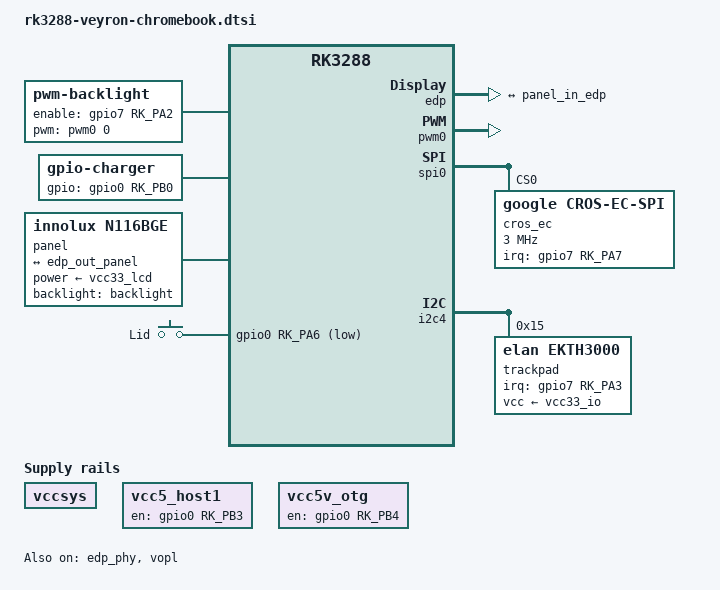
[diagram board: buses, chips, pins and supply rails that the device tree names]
// SPDX-License-Identifier: (GPL-2.0+ OR MIT)
/*
 * Google Veyron (and derivatives) board device tree source
 * Chromebook specific parts
 *
 * Copyright 2015 Google, Inc
 */

#include <dt-bindings/clock/rockchip,rk808.h>
#include <dt-bindings/input/input.h>
#include "rk3288-veyron.dtsi"
#include "rk3288-veyron-analog-audio.dtsi"
#include "rk3288-veyron-sdmmc.dtsi"

/ {
	aliases {
		/* Assign 20 so we don't get confused w/ builtin ones */
		i2c20 = &i2c_tunnel;
	};

	backlight: backlight {
		compatible = "pwm-backlight";
		brightness-levels = <
			  0   1   2   3   4   5   6   7
			  8   9  10  11  12  13  14  15
			 16  17  18  19  20  21  22  23
			 24  25  26  27  28  29  30  31
			 32  33  34  35  36  37  38  39
			 40  41  42  43  44  45  46  47
			 48  49  50  51  52  53  54  55
			 56  57  58  59  60  61  62  63
			 64  65  66  67  68  69  70  71
			 72  73  74  75  76  77  78  79
			 80  81  82  83  84  85  86  87
			 88  89  90  91  92  93  94  95
			 96  97  98  99 100 101 102 103
			104 105 106 107 108 109 110 111
			112 113 114 115 116 117 118 119
			120 121 122 123 124 125 126 127
			128 129 130 131 132 133 134 135
			136 137 138 139 140 141 142 143
			144 145 146 147 148 149 150 151
			152 153 154 155 156 157 158 159
			160 161 162 163 164 165 166 167
			168 169 170 171 172 173 174 175
			176 177 178 179 180 181 182 183
			184 185 186 187 188 189 190 191
			192 193 194 195 196 197 198 199
			200 201 202 203 204 205 206 207
			208 209 210 211 212 213 214 215
			216 217 218 219 220 221 222 223
			224 225 226 227 228 229 230 231
			232 233 234 235 236 237 238 239
			240 241 242 243 244 245 246 247
			248 249 250 251 252 253 254 255>;
		default-brightness-level = <128>;
		enable-gpios = <&gpio7 RK_PA2 GPIO_ACTIVE_HIGH>;
		pinctrl-names = "default";
		pinctrl-0 = <&bl_en>;
		pwms = <&pwm0 0 1000000 0>;
		post-pwm-on-delay-ms = <10>;
		pwm-off-delay-ms = <10>;
	};

	gpio-charger {
		compatible = "gpio-charger";
		charger-type = "mains";
		gpios = <&gpio0 RK_PB0 GPIO_ACTIVE_HIGH>;
		pinctrl-names = "default";
		pinctrl-0 = <&ac_present_ap>;
	};

	panel: panel {
		compatible ="innolux,n116bge", "simple-panel";
		status = "okay";
		power-supply = <&vcc33_lcd>;
		backlight = <&backlight>;

		ports {
			panel_in: port {
				panel_in_edp: endpoint {
					remote-endpoint = <&edp_out_panel>;
				};
			};
		};
	};

	/* A non-regulated voltage from power supply or battery */
	vccsys: vccsys {
		compatible = "regulator-fixed";
		regulator-name = "vccsys";
		regulator-boot-on;
		regulator-always-on;
	};

	vcc33_sys: vcc33-sys {
		vin-supply = <&vccsys>;
	};

	vcc_5v: vcc-5v {
		vin-supply = <&vccsys>;
	};

	/* This turns on vbus for host1 (dwc2) */
	vcc5_host1: vcc5-host1-regulator {
		compatible = "regulator-fixed";
		enable-active-high;
		gpio = <&gpio0 RK_PB3 GPIO_ACTIVE_HIGH>;
		pinctrl-names = "default";
		pinctrl-0 = <&host1_pwr_en>;
		regulator-name = "vcc5_host1";
		regulator-always-on;
		regulator-boot-on;
	};

	/* This turns on vbus for otg for host mode (dwc2) */
	vcc5v_otg: vcc5v-otg-regulator {
		compatible = "regulator-fixed";
		enable-active-high;
		gpio = <&gpio0 RK_PB4 GPIO_ACTIVE_HIGH>;
		pinctrl-names = "default";
		pinctrl-0 = <&usbotg_pwren_h>;
		regulator-name = "vcc5_host2";
		regulator-always-on;
		regulator-boot-on;
	};
};

&edp {
	status = "okay";

	pinctrl-names = "default";
	pinctrl-0 = <&edp_hpd>;

	ports {
		edp_out: port@1 {
			reg = <1>;
			#address-cells = <1>;
			#size-cells = <0>;
			edp_out_panel: endpoint@0 {
				reg = <0>;
				remote-endpoint = <&panel_in_edp>;
			};
		};
	};
};

&edp_phy {
	status = "okay";
};

&gpio_keys {
	pinctrl-0 = <&pwr_key_l &ap_lid_int_l>;
	lid {
		label = "Lid";
		gpios = <&gpio0 RK_PA6 GPIO_ACTIVE_LOW>;
		wakeup-source;
		linux,code = <0>; /* SW_LID */
		linux,input-type = <5>; /* EV_SW */
		debounce-interval = <1>;
	};
};

&pwm0 {
	status = "okay";
};

&rk808 {
	vcc11-supply = <&vcc_5v>;

	regulators {
		vcc33_ccd: LDO_REG8 {
			regulator-name = "vcc33_ccd";
			regulator-always-on;
			regulator-boot-on;
			regulator-min-microvolt = <3300000>;
			regulator-max-microvolt = <3300000>;
			regulator-state-mem {
				regulator-on-in-suspend;
				regulator-suspend-microvolt = <3300000>;
			};
		};
	};
};

&spi0 {
	status = "okay";

	cros_ec: ec@0 {
		compatible = "google,cros-ec-spi";
		reg = <0>;
		google,cros-ec-spi-pre-delay = <30>;
		interrupt-parent = <&gpio7>;
		interrupts = <RK_PA7 IRQ_TYPE_LEVEL_LOW>;
		pinctrl-names = "default";
		pinctrl-0 = <&ec_int>;
		spi-max-frequency = <3000000>;

		i2c_tunnel: i2c-tunnel {
			compatible = "google,cros-ec-i2c-tunnel";
			google,remote-bus = <0>;
			#address-cells = <1>;
			#size-cells = <0>;
		};
	};
};

&i2c4 {
	trackpad@15 {
		compatible = "elan,ekth3000";
		reg = <0x15>;
		interrupt-parent = <&gpio7>;
		interrupts = <RK_PA3 IRQ_TYPE_EDGE_FALLING>;
		pinctrl-names = "default";
		pinctrl-0 = <&trackpad_int>;
		vcc-supply = <&vcc33_io>;
		wakeup-source;
	};
};

&vopl {
	status = "okay";
};

&vopl_mmu {
	status = "okay";
};

&pinctrl {
	pinctrl-0 = <
		/* Common for sleep and wake, but no owners */
		&global_pwroff

		/* Wake only */
		&suspend_l_wake
	>;
	pinctrl-1 = <
		/* Common for sleep and wake, but no owners */
		&global_pwroff

		/* Sleep only */
		&suspend_l_sleep
	>;

	backlight {
		bl_en: bl-en {
			rockchip,pins = <7 2 RK_FUNC_GPIO &pcfg_pull_none>;
		};
	};

	buttons {
		ap_lid_int_l: ap-lid-int-l {
			rockchip,pins = <0 6 RK_FUNC_GPIO &pcfg_pull_up>;
		};
	};

	charger {
		ac_present_ap: ac-present-ap {
			rockchip,pins = <0 8 RK_FUNC_GPIO &pcfg_pull_up>;
		};
	};

	cros-ec {
		ec_int: ec-int {
			rockchip,pins = <7 7 RK_FUNC_GPIO &pcfg_pull_none>;
		};
	};

	suspend {
		suspend_l_wake: suspend-l-wake {
			rockchip,pins = <0 17 RK_FUNC_GPIO &pcfg_output_low>;
		};

		suspend_l_sleep: suspend-l-sleep {
			rockchip,pins = <0 17 RK_FUNC_GPIO &pcfg_output_high>;
		};
	};

	trackpad {
		trackpad_int: trackpad-int {
			rockchip,pins = <7 3 RK_FUNC_GPIO &pcfg_pull_up>;
		};
	};

	usb-host {
		host1_pwr_en: host1-pwr-en {
			rockchip,pins = <0 11 RK_FUNC_GPIO &pcfg_pull_none>;
		};

		usbotg_pwren_h: usbotg-pwren-h {
			rockchip,pins = <0 12 RK_FUNC_GPIO &pcfg_pull_none>;
		};
	};
};

#include "cros-ec-keyboard.dtsi"
